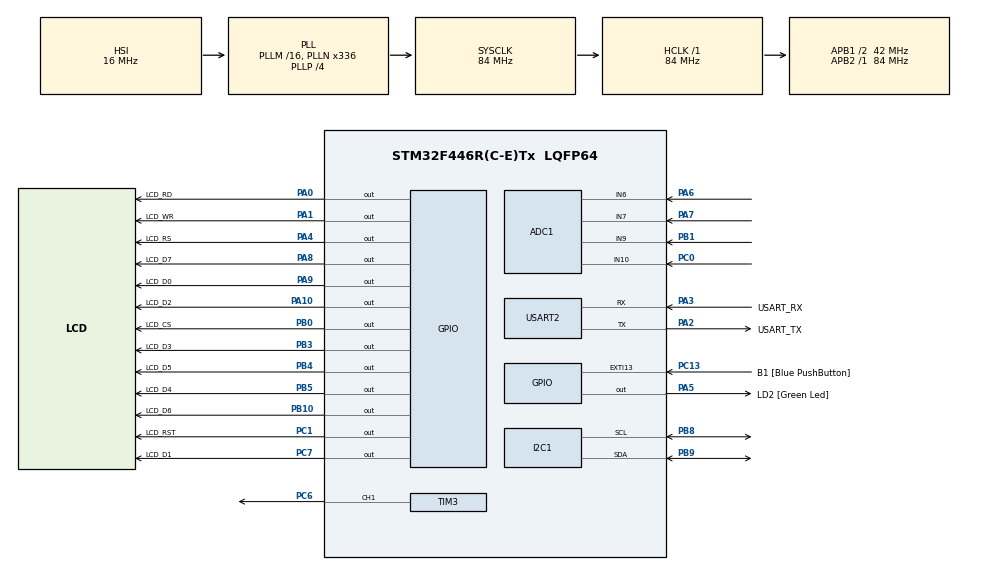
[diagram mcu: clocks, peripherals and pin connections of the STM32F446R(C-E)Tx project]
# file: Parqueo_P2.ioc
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ADC1.Channel-0\#ChannelRegularConversion=ADC_CHANNEL_6
ADC1.Channel-1\#ChannelRegularConversion=ADC_CHANNEL_7
ADC1.Channel-2\#ChannelRegularConversion=ADC_CHANNEL_9
ADC1.Channel-3\#ChannelRegularConversion=ADC_CHANNEL_10
ADC1.NbrOfConversion=4
ADC1.NbrOfConversionFlag=1
ADC1.Rank-0\#ChannelRegularConversion=1
ADC1.Rank-1\#ChannelRegularConversion=2
ADC1.Rank-2\#ChannelRegularConversion=3
ADC1.Rank-3\#ChannelRegularConversion=4
ADC1.SamplingTime-0\#ChannelRegularConversion=ADC_SAMPLETIME_3CYCLES
ADC1.SamplingTime-1\#ChannelRegularConversion=ADC_SAMPLETIME_3CYCLES
ADC1.SamplingTime-2\#ChannelRegularConversion=ADC_SAMPLETIME_3CYCLES
ADC1.SamplingTime-3\#ChannelRegularConversion=ADC_SAMPLETIME_3CYCLES
ADC1.master=1
Dma.ADC1.1.Direction=DMA_PERIPH_TO_MEMORY
Dma.ADC1.1.FIFOMode=DMA_FIFOMODE_DISABLE
Dma.ADC1.1.Instance=DMA2_Stream0
Dma.ADC1.1.MemDataAlignment=DMA_MDATAALIGN_WORD
Dma.ADC1.1.MemInc=DMA_MINC_ENABLE
Dma.ADC1.1.Mode=DMA_CIRCULAR
Dma.ADC1.1.PeriphDataAlignment=DMA_PDATAALIGN_WORD
Dma.ADC1.1.PeriphInc=DMA_PINC_DISABLE
Dma.ADC1.1.Priority=DMA_PRIORITY_LOW
Dma.Request0=TIM3_CH1/TRIG
Dma.Request1=ADC1
Dma.TIM3_CH1/TRIG.0.Direction=DMA_PERIPH_TO_MEMORY
Dma.TIM3_CH1/TRIG.0.FIFOMode=DMA_FIFOMODE_DISABLE
Dma.TIM3_CH1/TRIG.0.Instance=DMA1_Stream4
Dma.TIM3_CH1/TRIG.0.MemDataAlignment=DMA_MDATAALIGN_WORD
Dma.TIM3_CH1/TRIG.0.MemInc=DMA_MINC_ENABLE
Dma.TIM3_CH1/TRIG.0.Mode=DMA_NORMAL
Dma.TIM3_CH1/TRIG.0.PeriphDataAlignment=DMA_PDATAALIGN_WORD
Dma.TIM3_CH1/TRIG.0.PeriphInc=DMA_PINC_DISABLE
Dma.TIM3_CH1/TRIG.0.Priority=DMA_PRIORITY_LOW
Mcu.Family=STM32F4
Mcu.Name=STM32F446R(C-E)Tx
Mcu.Package=LQFP64
NVIC.DMA1_Stream4_IRQn=true\:0\:0\:false\:false\:true\:false\:true\:true
NVIC.DMA2_Stream0_IRQn=true\:0\:0\:false\:false\:true\:false\:true\:true
NVIC.PriorityGroup=NVIC_PRIORITYGROUP_0
NVIC.USART2_IRQn=true\:0\:0\:false\:false\:true\:true\:true\:true
PA0-WKUP.GPIO_Label=LCD_RD
PA0-WKUP.GPIO_Speed=GPIO_SPEED_FREQ_VERY_HIGH
PA0-WKUP.Signal=GPIO_Output
PA1.GPIO_Label=LCD_WR
PA1.GPIO_Speed=GPIO_SPEED_FREQ_VERY_HIGH
PA1.Signal=GPIO_Output
PA10.GPIO_Label=LCD_D2
PA10.GPIO_Speed=GPIO_SPEED_FREQ_VERY_HIGH
PA10.Signal=GPIO_Output
PA13.GPIO_Label=TMS
PA13.Mode=Serial_Wire
PA13.Signal=SYS_JTMS-SWDIO
PA14.GPIO_Label=TCK
PA14.Mode=Serial_Wire
PA14.Signal=SYS_JTCK-SWCLK
PA2.GPIO_Label=USART_TX
PA2.Mode=Asynchronous
PA2.Signal=USART2_TX
PA3.GPIO_Label=USART_RX
PA3.Mode=Asynchronous
PA3.Signal=USART2_RX
PA4.GPIO_Label=LCD_RS
PA4.GPIO_Speed=GPIO_SPEED_FREQ_VERY_HIGH
PA4.Signal=GPIO_Output
PA5.GPIO_Label=LD2 [Green Led]
PA5.Signal=GPIO_Output
PA6.Signal=ADCx_IN6
PA7.Signal=ADCx_IN7
PA8.GPIO_Label=LCD_D7
PA8.GPIO_Speed=GPIO_SPEED_FREQ_VERY_HIGH
PA8.Signal=GPIO_Output
PA9.GPIO_Label=LCD_D0
PA9.GPIO_Speed=GPIO_SPEED_FREQ_VERY_HIGH
PA9.Signal=GPIO_Output
PB0.GPIO_Label=LCD_CS
PB0.GPIO_Speed=GPIO_SPEED_FREQ_VERY_HIGH
PB0.Signal=GPIO_Output
PB1.Signal=ADCx_IN9
PB10.GPIO_Label=LCD_D6
PB10.GPIO_Speed=GPIO_SPEED_FREQ_VERY_HIGH
PB10.Signal=GPIO_Output
PB3.GPIO_Label=LCD_D3
PB3.GPIO_Speed=GPIO_SPEED_FREQ_VERY_HIGH
PB3.Signal=GPIO_Output
PB4.GPIO_Label=LCD_D5
PB4.GPIO_Speed=GPIO_SPEED_FREQ_VERY_HIGH
PB4.Signal=GPIO_Output
PB5.GPIO_Label=LCD_D4
PB5.GPIO_Speed=GPIO_SPEED_FREQ_VERY_HIGH
PB5.Signal=GPIO_Output
PB8.Mode=I2C
PB8.Signal=I2C1_SCL
PB9.Mode=I2C
PB9.Signal=I2C1_SDA
PC0.Signal=ADCx_IN10
PC1.GPIO_Label=LCD_RST
PC1.GPIO_Speed=GPIO_SPEED_FREQ_VERY_HIGH
PC1.Signal=GPIO_Output
PC13.GPIO_Label=B1 [Blue PushButton]
PC13.GPIO_ModeDefaultEXTI=GPIO_MODE_IT_FALLING
PC13.Signal=GPXTI13
PC14-OSC32_IN.Mode=LSE-External-Oscillator
PC14-OSC32_IN.Signal=RCC_OSC32_IN
PC15-OSC32_OUT.Mode=LSE-External-Oscillator
PC15-OSC32_OUT.Signal=RCC_OSC32_OUT
PC6.Signal=S_TIM3_CH1
PC7.GPIO_Label=LCD_D1
PC7.GPIO_Speed=GPIO_SPEED_FREQ_VERY_HIGH
PC7.Signal=GPIO_Output
PH0-OSC_IN.Mode=HSE-External-Oscillator
PH0-OSC_IN.Signal=RCC_OSC_IN
PH1-OSC_OUT.Mode=HSE-External-Oscillator
PH1-OSC_OUT.Signal=RCC_OSC_OUT
ProjectManager.HeapSize=0x200
ProjectManager.StackSize=0x400
ProjectManager.TargetToolchain=STM32CubeIDE
RCC.48MHZClocksFreq_Value=84000000
RCC.AHBFreq_Value=84000000
RCC.APB1CLKDivider=RCC_HCLK_DIV2
RCC.APB1Freq_Value=42000000
RCC.APB1TimFreq_Value=84000000
RCC.APB2Freq_Value=84000000
RCC.APB2TimFreq_Value=84000000
RCC.CortexFreq_Value=84000000
RCC.FLatency-AdvancedSettings=FLASH_LATENCY_2
RCC.HCLKFreq_Value=84000000
RCC.HSE_VALUE=8000000
RCC.HSI_VALUE=16000000
RCC.PLLN=336
RCC.PLLP=RCC_PLLP_DIV4
RCC.SYSCLKFreq_VALUE=84000000
RCC.SYSCLKSource=RCC_SYSCLKSOURCE_PLLCLK
RCC.USBFreq_Value=168000000
RCC.VCOOutputFreq_Value=336000000
SH.ADCx_IN10.0=ADC1_IN10,IN10
SH.ADCx_IN6.0=ADC1_IN6,IN6
SH.ADCx_IN7.0=ADC1_IN7,IN7
SH.ADCx_IN9.0=ADC1_IN9,IN9
SH.S_TIM3_CH1.0=TIM3_CH1,PWM Generation1 CH1
TIM3.Channel-PWM\ Generation1\ CH1=TIM_CHANNEL_1
TIM3.Period=104
USART2.VirtualMode=VM_ASYNC
VP_TIM3_VS_ClockSourceINT.Mode=Internal
board=NUCLEO-F446RE

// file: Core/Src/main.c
/* USER CODE BEGIN Header */
/**
  ******************************************************************************
  * @file           : main.c
  * @brief          : Main program body
  ******************************************************************************
  * @attention
  *
  * Copyright (c) 2026 STMicroelectronics.
  * All rights reserved.
  *
  * This software is licensed under terms that can be found in the LICENSE file
  * in the root directory of this software component.
  * If no LICENSE file comes with this software, it is provided AS-IS.
  *
  ******************************************************************************
  */
/* USER CODE END Header */
#include "main.h"

/* USER CODE BEGIN Includes */
#include "ili9341.h"
#include "parqueo_gui.h"
#include "font.h"
#include "assets.h"  // Si vas a usar imágenes
#include <stdio.h>   // Para manejo de strings si usas sprintf
#include "neopixel.h"
/* USER CODE END Includes */

ADC_HandleTypeDef hadc1;
DMA_HandleTypeDef hdma_adc1;

I2C_HandleTypeDef hi2c1;

TIM_HandleTypeDef htim3;
DMA_HandleTypeDef hdma_tim3_ch1_trig;

UART_HandleTypeDef huart2;

/* USER CODE BEGIN PV */
uint8_t estado_parqueo[8] = {0,0,0,0,0,0,0,0}; // Array maestro
uint8_t actualizar_pantalla = 0; // Bandera para el main

// Variables para ADC y NeoPixels del Maestro
uint32_t adc_buffer_maestro[4];
const uint32_t LDR_THRESHOLD = 2000;

// Variables para la máquina de estados UART
uint8_t byte_rx;
char cmd_letra = 0;
/* USER CODE END PV */

void SystemClock_Config(void);
static void MX_GPIO_Init(void);
static void MX_DMA_Init(void);
static void MX_USART2_UART_Init(void);
static void MX_ADC1_Init(void);
static void MX_TIM3_Init(void);
static void MX_I2C1_Init(void);

int main(void)
{

  /* MCU Configuration--------------------------------------------------------*/

  /* Reset of all peripherals, Initializes the Flash interface and the Systick. */
  HAL_Init();

  /* Configure the system clock */
  SystemClock_Config();

  /* Initialize all configured peripherals */
  MX_GPIO_Init();
  MX_DMA_Init();
  MX_USART2_UART_Init();
  MX_ADC1_Init();
  MX_TIM3_Init();
  MX_I2C1_Init();
  /* USER CODE BEGIN 2 */
  // 1. Inicializar la pantalla y pintar el estado inicial
  LCD_Init();
  GUI_Inicializar();
  GUI_Actualizar(estado_parqueo);

  // 2. Inicializar NeoPixels (TIM3, Canal 1)
  NeoPixel_Init(&htim3, TIM_CHANNEL_1);

  // 3. Iniciar lectura continua de los 4 sensores físicos
  HAL_ADC_Start_DMA(&hadc1, (uint32_t*)adc_buffer_maestro, 4);

  // 4. Iniciar la escucha del primer byte por UART
  HAL_UART_Receive_IT(&huart2, &byte_rx, 1);
  /* USER CODE END 2 */

  /* Infinite loop */
  /* USER CODE BEGIN WHILE */
  while (1)
  {
	  	  	uint8_t estado_esclavo = 0;
	        uint8_t estado_anterior[8];

	        // 0. Guardamos una copia del estado actual para saber si la pantalla necesita actualizarse
	        for(int i = 0; i < 8; i++) {
	            estado_anterior[i] = estado_parqueo[i];
	        }

	        // 1. LEER SENSORES LOCALES Y ACTUALIZAR NEOPIXELS (Cajones 1 al 4)
	        for (int i = 0; i < 4; i++) {
	            if (adc_buffer_maestro[i] < LDR_THRESHOLD) {
	                estado_parqueo[i] = 1; // Ocupado
	                NeoPixel_SetColor(i, 255, 0, 0); // Rojo
	            } else {
	                estado_parqueo[i] = 0; // Libre
	                NeoPixel_SetColor(i, 0, 255, 0); // Verde
	            }
	        }

	        // Aplicar colores físicamente a los LEDs de la Nucleo 1
	        NeoPixel_Show();

	        // 2. SOLICITAR DATOS I2C A LA NUCLEO 2 (Dirección 36)
	        // Pedimos 1 byte con un timeout de 100ms
	        if (HAL_I2C_Master_Receive(&hi2c1, 36, &estado_esclavo, 1, 100) == HAL_OK) {

	            // Desempaquetamos los 4 bits recibidos en las posiciones 4 al 7 del arreglo
	            estado_parqueo[4] = (estado_esclavo & 0x01) ? 1 : 0;
	            estado_parqueo[5] = (estado_esclavo & 0x02) ? 1 : 0;
	            estado_parqueo[6] = (estado_esclavo & 0x04) ? 1 : 0;
	            estado_parqueo[7] = (estado_esclavo & 0x08) ? 1 : 0;
	        }

	        // 3. CALCULAR EL TOTAL DE ESPACIOS LIBRES GLOBALES (De los 8 cajones)
	        uint8_t libres_totales = 0;
	        for (int i = 0; i < 8; i++) {
	            if (estado_parqueo[i] == 0) {
	                libres_totales++;
	            }
	        }

	        // 4. ENVIAR EL TOTAL AL ESCLAVO
	        // Mandamos el número para que la Nucleo 2 lo muestre en su Display de 7 segmentos
	        HAL_I2C_Master_Transmit(&hi2c1, 36, &libres_totales, 1, 100);

	        // 5. EVALUAR SI HUBO CAMBIOS PARA LA INTERFAZ GRÁFICA
	        // Comparamos el estado anterior con el nuevo. Si hubo un cambio físico o si el UART
	        // levantó la bandera "actualizar_pantalla", disparamos la función GUI.
	        for(int i = 0; i < 8; i++) {
	            if(estado_anterior[i] != estado_parqueo[i]) {
	                actualizar_pantalla = 1;
	                break;
	            }
	        }

	        if (actualizar_pantalla) {
	            GUI_Actualizar(estado_parqueo);
	            actualizar_pantalla = 0;
	        }

	        // 6. RITMO DEL SISTEMA
	        HAL_Delay(50); // Delay corto para estabilidad, leer sensores y no saturar I2C
    /* USER CODE END WHILE */

  }
}

void SystemClock_Config(void)
{
  RCC_OscInitTypeDef RCC_OscInitStruct = {0};
  RCC_ClkInitTypeDef RCC_ClkInitStruct = {0};

  /** Configure the main internal regulator output voltage
  */
  __HAL_RCC_PWR_CLK_ENABLE();
  __HAL_PWR_VOLTAGESCALING_CONFIG(PWR_REGULATOR_VOLTAGE_SCALE3);

  /** Initializes the RCC Oscillators according to the specified parameters
  * in the RCC_OscInitTypeDef structure.
  */
  RCC_OscInitStruct.OscillatorType = RCC_OSCILLATORTYPE_HSI;
  RCC_OscInitStruct.HSIState = RCC_HSI_ON;
  RCC_OscInitStruct.HSICalibrationValue = RCC_HSICALIBRATION_DEFAULT;
  RCC_OscInitStruct.PLL.PLLState = RCC_PLL_ON;
  RCC_OscInitStruct.PLL.PLLSource = RCC_PLLSOURCE_HSI;
  RCC_OscInitStruct.PLL.PLLM = 16;
  RCC_OscInitStruct.PLL.PLLN = 336;
  RCC_OscInitStruct.PLL.PLLP = RCC_PLLP_DIV4;
  RCC_OscInitStruct.PLL.PLLQ = 2;
  RCC_OscInitStruct.PLL.PLLR = 2;
  if (HAL_RCC_OscConfig(&RCC_OscInitStruct) != HAL_OK)
  {
    Error_Handler();
  }

  /** Initializes the CPU, AHB and APB buses clocks
  */
  RCC_ClkInitStruct.ClockType = RCC_CLOCKTYPE_HCLK|RCC_CLOCKTYPE_SYSCLK
                              |RCC_CLOCKTYPE_PCLK1|RCC_CLOCKTYPE_PCLK2;
  RCC_ClkInitStruct.SYSCLKSource = RCC_SYSCLKSOURCE_PLLCLK;
  RCC_ClkInitStruct.AHBCLKDivider = RCC_SYSCLK_DIV1;
  RCC_ClkInitStruct.APB1CLKDivider = RCC_HCLK_DIV2;
  RCC_ClkInitStruct.APB2CLKDivider = RCC_HCLK_DIV1;

  if (HAL_RCC_ClockConfig(&RCC_ClkInitStruct, FLASH_LATENCY_2) != HAL_OK)
  {
    Error_Handler();
  }
}

static void MX_ADC1_Init(void)
{

  ADC_ChannelConfTypeDef sConfig = {0};

  /** Configure the global features of the ADC (Clock, Resolution, Data Alignment and number of conversion)
  */
  hadc1.Instance = ADC1;
  hadc1.Init.ClockPrescaler = ADC_CLOCK_SYNC_PCLK_DIV4;
  hadc1.Init.Resolution = ADC_RESOLUTION_12B;
  hadc1.Init.ScanConvMode = ENABLE;
  hadc1.Init.ContinuousConvMode = DISABLE;
  hadc1.Init.DiscontinuousConvMode = DISABLE;
  hadc1.Init.ExternalTrigConvEdge = ADC_EXTERNALTRIGCONVEDGE_NONE;
  hadc1.Init.ExternalTrigConv = ADC_SOFTWARE_START;
  hadc1.Init.DataAlign = ADC_DATAALIGN_RIGHT;
  hadc1.Init.NbrOfConversion = 4;
  hadc1.Init.DMAContinuousRequests = DISABLE;
  hadc1.Init.EOCSelection = ADC_EOC_SINGLE_CONV;
  if (HAL_ADC_Init(&hadc1) != HAL_OK)
  {
    Error_Handler();
  }

  /** Configure for the selected ADC regular channel its corresponding rank in the sequencer and its sample time.
  */
  sConfig.Channel = ADC_CHANNEL_6;
  sConfig.Rank = 1;
  sConfig.SamplingTime = ADC_SAMPLETIME_3CYCLES;
  if (HAL_ADC_ConfigChannel(&hadc1, &sConfig) != HAL_OK)
  {
    Error_Handler();
  }

  /** Configure for the selected ADC regular channel its corresponding rank in the sequencer and its sample time.
  */
  sConfig.Channel = ADC_CHANNEL_7;
  sConfig.Rank = 2;
  if (HAL_ADC_ConfigChannel(&hadc1, &sConfig) != HAL_OK)
  {
    Error_Handler();
  }

  /** Configure for the selected ADC regular channel its corresponding rank in the sequencer and its sample time.
  */
  sConfig.Channel = ADC_CHANNEL_9;
  sConfig.Rank = 3;
  if (HAL_ADC_ConfigChannel(&hadc1, &sConfig) != HAL_OK)
  {
    Error_Handler();
  }

  /** Configure for the selected ADC regular channel its corresponding rank in the sequencer and its sample time.
  */
  sConfig.Channel = ADC_CHANNEL_10;
  sConfig.Rank = 4;
  if (HAL_ADC_ConfigChannel(&hadc1, &sConfig) != HAL_OK)
  {
    Error_Handler();
  }

}

static void MX_I2C1_Init(void)
{

  hi2c1.Instance = I2C1;
  hi2c1.Init.ClockSpeed = 100000;
  hi2c1.Init.DutyCycle = I2C_DUTYCYCLE_2;
  hi2c1.Init.OwnAddress1 = 0;
  hi2c1.Init.AddressingMode = I2C_ADDRESSINGMODE_7BIT;
  hi2c1.Init.DualAddressMode = I2C_DUALADDRESS_DISABLE;
  hi2c1.Init.OwnAddress2 = 0;
  hi2c1.Init.GeneralCallMode = I2C_GENERALCALL_DISABLE;
  hi2c1.Init.NoStretchMode = I2C_NOSTRETCH_DISABLE;
  if (HAL_I2C_Init(&hi2c1) != HAL_OK)
  {
    Error_Handler();
  }

}

static void MX_TIM3_Init(void)
{

  TIM_ClockConfigTypeDef sClockSourceConfig = {0};
  TIM_MasterConfigTypeDef sMasterConfig = {0};
  TIM_OC_InitTypeDef sConfigOC = {0};

  htim3.Instance = TIM3;
  htim3.Init.Prescaler = 0;
  htim3.Init.CounterMode = TIM_COUNTERMODE_UP;
  htim3.Init.Period = 104;
  htim3.Init.ClockDivision = TIM_CLOCKDIVISION_DIV1;
  htim3.Init.AutoReloadPreload = TIM_AUTORELOAD_PRELOAD_DISABLE;
  if (HAL_TIM_Base_Init(&htim3) != HAL_OK)
  {
    Error_Handler();
  }
  sClockSourceConfig.ClockSource = TIM_CLOCKSOURCE_INTERNAL;
  if (HAL_TIM_ConfigClockSource(&htim3, &sClockSourceConfig) != HAL_OK)
  {
    Error_Handler();
  }
  if (HAL_TIM_PWM_Init(&htim3) != HAL_OK)
  {
    Error_Handler();
  }
  sMasterConfig.MasterOutputTrigger = TIM_TRGO_RESET;
  sMasterConfig.MasterSlaveMode = TIM_MASTERSLAVEMODE_DISABLE;
  if (HAL_TIMEx_MasterConfigSynchronization(&htim3, &sMasterConfig) != HAL_OK)
  {
    Error_Handler();
  }
  sConfigOC.OCMode = TIM_OCMODE_PWM1;
  sConfigOC.Pulse = 0;
  sConfigOC.OCPolarity = TIM_OCPOLARITY_HIGH;
  sConfigOC.OCFastMode = TIM_OCFAST_DISABLE;
  if (HAL_TIM_PWM_ConfigChannel(&htim3, &sConfigOC, TIM_CHANNEL_1) != HAL_OK)
  {
    Error_Handler();
  }
  HAL_TIM_MspPostInit(&htim3);

}

static void MX_USART2_UART_Init(void)
{

  huart2.Instance = USART2;
  huart2.Init.BaudRate = 115200;
  huart2.Init.WordLength = UART_WORDLENGTH_8B;
  huart2.Init.StopBits = UART_STOPBITS_1;
  huart2.Init.Parity = UART_PARITY_NONE;
  huart2.Init.Mode = UART_MODE_TX_RX;
  huart2.Init.HwFlowCtl = UART_HWCONTROL_NONE;
  huart2.Init.OverSampling = UART_OVERSAMPLING_16;
  if (HAL_UART_Init(&huart2) != HAL_OK)
  {
    Error_Handler();
  }

}

static void MX_DMA_Init(void)
{

  /* DMA controller clock enable */
  __HAL_RCC_DMA1_CLK_ENABLE();
  __HAL_RCC_DMA2_CLK_ENABLE();

  /* DMA interrupt init */
  /* DMA1_Stream4_IRQn interrupt configuration */
  HAL_NVIC_SetPriority(DMA1_Stream4_IRQn, 0, 0);
  HAL_NVIC_EnableIRQ(DMA1_Stream4_IRQn);
  /* DMA2_Stream0_IRQn interrupt configuration */
  HAL_NVIC_SetPriority(DMA2_Stream0_IRQn, 0, 0);
  HAL_NVIC_EnableIRQ(DMA2_Stream0_IRQn);

}

static void MX_GPIO_Init(void)
{
  GPIO_InitTypeDef GPIO_InitStruct = {0};

  /* GPIO Ports Clock Enable */
  __HAL_RCC_GPIOC_CLK_ENABLE();
  __HAL_RCC_GPIOH_CLK_ENABLE();
  __HAL_RCC_GPIOA_CLK_ENABLE();
  __HAL_RCC_GPIOB_CLK_ENABLE();

  /*Configure GPIO pin Output Level */
  HAL_GPIO_WritePin(GPIOC, LCD_RST_Pin|LCD_D1_Pin, GPIO_PIN_RESET);

  /*Configure GPIO pin Output Level */
  HAL_GPIO_WritePin(GPIOA, LCD_RD_Pin|LCD_WR_Pin|LCD_RS_Pin|LD2_Pin
                          |LCD_D7_Pin|LCD_D0_Pin|LCD_D2_Pin, GPIO_PIN_RESET);

  /*Configure GPIO pin Output Level */
  HAL_GPIO_WritePin(GPIOB, LCD_CS_Pin|LCD_D6_Pin|LCD_D3_Pin|LCD_D5_Pin
                          |LCD_D4_Pin, GPIO_PIN_RESET);

  /*Configure GPIO pin : B1_Pin */
  GPIO_InitStruct.Pin = B1_Pin;
  GPIO_InitStruct.Mode = GPIO_MODE_IT_FALLING;
  GPIO_InitStruct.Pull = GPIO_NOPULL;
  HAL_GPIO_Init(B1_GPIO_Port, &GPIO_InitStruct);

  /*Configure GPIO pins : LCD_RST_Pin LCD_D1_Pin */
  GPIO_InitStruct.Pin = LCD_RST_Pin|LCD_D1_Pin;
  GPIO_InitStruct.Mode = GPIO_MODE_OUTPUT_PP;
  GPIO_InitStruct.Pull = GPIO_NOPULL;
  GPIO_InitStruct.Speed = GPIO_SPEED_FREQ_VERY_HIGH;
  HAL_GPIO_Init(GPIOC, &GPIO_InitStruct);

  /*Configure GPIO pins : LCD_RD_Pin LCD_WR_Pin LCD_RS_Pin LCD_D7_Pin
                           LCD_D0_Pin LCD_D2_Pin */
  GPIO_InitStruct.Pin = LCD_RD_Pin|LCD_WR_Pin|LCD_RS_Pin|LCD_D7_Pin
                          |LCD_D0_Pin|LCD_D2_Pin;
  GPIO_InitStruct.Mode = GPIO_MODE_OUTPUT_PP;
  GPIO_InitStruct.Pull = GPIO_NOPULL;
  GPIO_InitStruct.Speed = GPIO_SPEED_FREQ_VERY_HIGH;
  HAL_GPIO_Init(GPIOA, &GPIO_InitStruct);

  /*Configure GPIO pin : LD2_Pin */
  GPIO_InitStruct.Pin = LD2_Pin;
  GPIO_InitStruct.Mode = GPIO_MODE_OUTPUT_PP;
  GPIO_InitStruct.Pull = GPIO_NOPULL;
  GPIO_InitStruct.Speed = GPIO_SPEED_FREQ_LOW;
  HAL_GPIO_Init(LD2_GPIO_Port, &GPIO_InitStruct);

  /*Configure GPIO pins : LCD_CS_Pin LCD_D6_Pin LCD_D3_Pin LCD_D5_Pin
                           LCD_D4_Pin */
  GPIO_InitStruct.Pin = LCD_CS_Pin|LCD_D6_Pin|LCD_D3_Pin|LCD_D5_Pin
                          |LCD_D4_Pin;
  GPIO_InitStruct.Mode = GPIO_MODE_OUTPUT_PP;
  GPIO_InitStruct.Pull = GPIO_NOPULL;
  GPIO_InitStruct.Speed = GPIO_SPEED_FREQ_VERY_HIGH;
  HAL_GPIO_Init(GPIOB, &GPIO_InitStruct);

}

/* USER CODE BEGIN 4 */
void HAL_UART_RxCpltCallback(UART_HandleTypeDef *huart) {
    if (huart->Instance == USART2) {

        // 1. Convertir minúsculas a mayúsculas para ser a prueba de errores
        if(byte_rx >= 'a' && byte_rx <= 'z') byte_rx -= 32;

        // 2. Si recibimos 'A' o 'B', la guardamos y esperamos el número
        if (byte_rx == 'A' || byte_rx == 'B') {
            cmd_letra = byte_rx;
        }
        // 3. Si ya teníamos la letra guardada, y llega un número válido (1 al 4)
        else if (cmd_letra != 0 && byte_rx >= '1' && byte_rx <= '4') {

            int numero = byte_rx - '1'; // Convierte '1' en 0, '2' en 1, etc.
            int indice = (cmd_letra == 'A') ? numero : (numero + 4);

            // Hacemos Toggle (si estaba en 0 pasa a 1, y viceversa)
            estado_parqueo[indice] = !estado_parqueo[indice];

            // Levantamos bandera para que la pantalla se actualice en el main
            actualizar_pantalla = 1;

            // Feedback a la terminal de tu PC
            char msg[40];
            sprintf(msg, "\r\n[+] Cajon %c%c -> %s\r\n", cmd_letra, byte_rx,
                    estado_parqueo[indice] ? "OCUPADO" : "LIBRE");
            HAL_UART_Transmit(&huart2, (uint8_t*)msg, strlen(msg), 50);

            // Reseteamos la letra para esperar el próximo comando limpio
            cmd_letra = 0;
        }
        // 4. Si llega cualquier otra basura (como un Enter \r o \n), reseteamos
        else {
            cmd_letra = 0;
        }

        // Volvemos a escuchar 1 solo byte
        HAL_UART_Receive_IT(&huart2, &byte_rx, 1);
    }
}
/* USER CODE END 4 */

void Error_Handler(void)
{
  __disable_irq();
  while (1)
  {
  }
}
